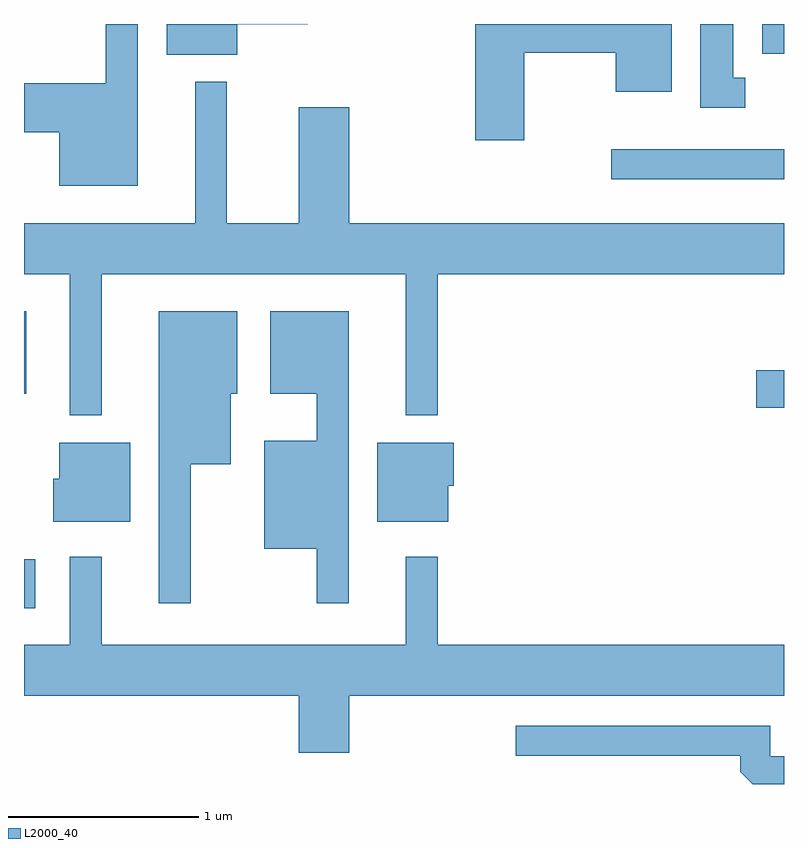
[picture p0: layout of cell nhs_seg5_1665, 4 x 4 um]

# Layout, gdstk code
import gdstk
lib = gdstk.Library(unit=1e-6, precision=1e-09)
def R(c, l, rs):  # rectangles x0, y0, x1, y1
    for r in rs: c.add(gdstk.rectangle(r[:2], r[2:], *l))
def P(c, l, *ps):  # polygons
    for p in ps: c.add(gdstk.Polygon(p, *l))
L2000_40 = (2000, 40)

nhs_seg5_1665 = lib.new_cell('nhs_seg5_1665')
R(nhs_seg5_1665, L2000_40, [(233.611,1494.996,233.669,1495.254), (237.466,1496.051,237.611,1496.249), (233.611,1496.126,233.624,1496.559), (236.703,1497.256,237.611,1497.414), (237.496,1497.916,237.611,1498.072)])
P(nhs_seg5_1665, L2000_40, [(237.408,1497.789),(237.344,1497.789),(237.344,1498.072),(237.171,1498.072),(237.171,1497.631),(237.408,1497.631)],
  [(234.209,1498.072),(234.041,1498.072),(234.041,1497.759),(233.611,1497.759),(233.611,1497.501),(233.796,1497.501),(233.796,1497.221),(234.209,1497.221)],
  [(236.244,1497.921),(236.726,1497.921),(236.726,1497.716),(237.019,1497.716),(237.019,1498.072),(235.986,1498.072),(235.986,1497.461),(236.244,1497.461)],
  [(234.734,1498.071),(235.104,1498.071),(235.104,1498.072),(234.361,1498.072),(234.361,1497.911),(234.734,1497.911)],
  [(234.019,1496.756),(235.621,1496.756),(235.621,1496.013),(235.789,1496.013),(235.789,1496.756),(237.611,1496.756),(237.611,1497.024),(235.324,1497.024),(235.324,1497.634),(235.056,1497.634),(235.056,1497.024),(234.679,1497.024),(234.679,1497.768),(234.511,1497.768),(234.511,1497.024),(233.611,1497.024),(233.611,1496.756),(233.851,1496.756),(233.851,1496.013),(234.019,1496.013)],
  [(235.319,1496.559),(234.906,1496.559),(234.906,1496.126),(235.151,1496.126),(235.151,1495.879),(234.876,1495.879),(234.876,1495.311),(235.151,1495.311),(235.151,1495.023),(235.319,1495.023)],
  [(234.489,1495.756),(234.699,1495.756),(234.699,1496.126),(234.734,1496.126),(234.734,1496.559),(234.321,1496.559),(234.321,1495.023),(234.489,1495.023)],
  [(235.844,1495.641),(235.874,1495.641),(235.874,1495.869),(235.471,1495.869),(235.471,1495.451),(235.844,1495.451)],
  [(234.169,1495.869),(233.796,1495.869),(233.796,1495.679),(233.766,1495.679),(233.766,1495.451),(234.169,1495.451)],
  [(235.324,1494.536),(237.611,1494.536),(237.611,1494.804),(235.789,1494.804),(235.789,1495.268),(235.621,1495.268),(235.621,1494.804),(234.019,1494.804),(234.019,1495.268),(233.851,1495.268),(233.851,1494.804),(233.611,1494.804),(233.611,1494.536),(235.056,1494.536),(235.056,1494.236),(235.324,1494.236)],
  [(237.611,1494.219),(237.539,1494.219),(237.539,1494.379),(236.198,1494.379),(236.198,1494.221),(237.381,1494.221),(237.381,1494.137),(237.446,1494.072),(237.611,1494.072)])

lib.write_gds('nhs_seg5_1665.gds')
